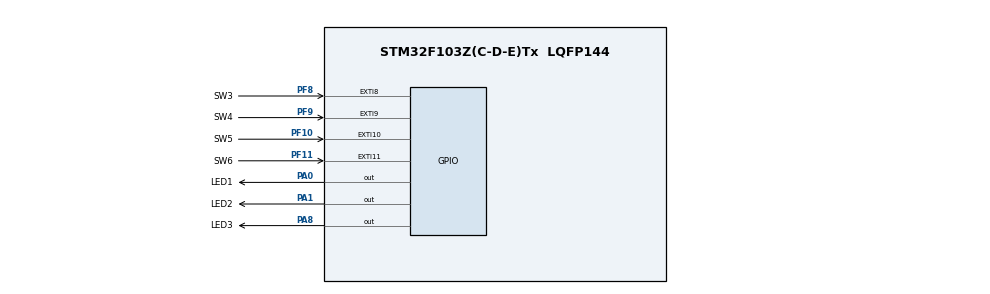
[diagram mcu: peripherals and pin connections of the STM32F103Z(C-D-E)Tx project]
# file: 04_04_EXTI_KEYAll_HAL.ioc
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Mcu.Family=STM32F1
Mcu.Name=STM32F103Z(C-D-E)Tx
Mcu.Package=LQFP144
NVIC.EXTI15_10_IRQn=true\:10\:0\:true\:false\:true\:true\:true\:true
NVIC.EXTI9_5_IRQn=true\:10\:0\:true\:false\:true\:true\:true\:true
NVIC.PriorityGroup=NVIC_PRIORITYGROUP_4
OSC_IN.Mode=HSE-External-Oscillator
OSC_IN.Signal=RCC_OSC_IN
OSC_OUT.Mode=HSE-External-Oscillator
OSC_OUT.Signal=RCC_OSC_OUT
PA0-WKUP.GPIO_Label=LED1
PA0-WKUP.GPIO_Speed=GPIO_SPEED_FREQ_HIGH
PA0-WKUP.PinState=GPIO_PIN_SET
PA0-WKUP.Signal=GPIO_Output
PA1.GPIO_Label=LED2
PA1.GPIO_Speed=GPIO_SPEED_FREQ_HIGH
PA1.PinState=GPIO_PIN_SET
PA1.Signal=GPIO_Output
PA13.Mode=Serial_Wire
PA13.Signal=SYS_JTMS-SWDIO
PA14.Mode=Serial_Wire
PA14.Signal=SYS_JTCK-SWCLK
PA8.GPIO_Label=LED3
PA8.GPIO_Speed=GPIO_SPEED_FREQ_HIGH
PA8.PinState=GPIO_PIN_SET
PA8.Signal=GPIO_Output
PC14-OSC32_IN.Mode=LSE-External-Oscillator
PC14-OSC32_IN.Signal=RCC_OSC32_IN
PC15-OSC32_OUT.Mode=LSE-External-Oscillator
PC15-OSC32_OUT.Signal=RCC_OSC32_OUT
PF10.GPIO_Label=SW5
PF10.GPIO_ModeDefaultEXTI=GPIO_MODE_IT_RISING
PF10.GPIO_PuPd=GPIO_PULLDOWN
PF10.Signal=GPXTI10
PF11.GPIO_Label=SW6
PF11.GPIO_PuPd=GPIO_PULLDOWN
PF11.Signal=GPXTI11
PF8.GPIO_Label=SW3
PF8.GPIO_ModeDefaultEXTI=GPIO_MODE_IT_FALLING
PF8.GPIO_PuPd=GPIO_PULLUP
PF8.Signal=GPXTI8
PF9.GPIO_Label=SW4
PF9.GPIO_ModeDefaultEXTI=GPIO_MODE_IT_FALLING
PF9.GPIO_PuPd=GPIO_PULLUP
PF9.Signal=GPXTI9
ProjectManager.HeapSize=0x200
ProjectManager.StackSize=0x400
ProjectManager.TargetToolchain=MDK-ARM V5.32
RCC.APB1Freq_Value=8000000
RCC.APB2Freq_Value=8000000
board=custom

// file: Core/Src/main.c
/* USER CODE BEGIN Header */
/**
  ******************************************************************************
  * @file           : main.c
  * @brief          : Main program body
  ******************************************************************************
  * @attention
  *
  * Copyright (c) 2025 STMicroelectronics.
  * All rights reserved.
  *
  * This software is licensed under terms that can be found in the LICENSE file
  * in the root directory of this software component.
  * If no LICENSE file comes with this software, it is provided AS-IS.
  *
  ******************************************************************************
  */
/* USER CODE END Header */
#include "main.h"
#include "gpio.h"

void SystemClock_Config(void);

/* USER CODE BEGIN 0 */
uint16_t leds[3] = {LED1_Pin,LED2_Pin,LED3_Pin};
void HAL_GPIO_EXTI_Callback(uint16_t GPIO_Pin)
{
  // �ж��Ƿ��� SW3
  if (GPIO_Pin == SW3_Pin)
  {
    HAL_Delay(10);
    if (HAL_GPIO_ReadPin(SW3_GPIO_Port,SW3_Pin) == GPIO_PIN_RESET)
    {
      HAL_GPIO_TogglePin(LED1_GPIO_Port,LED1_Pin);
    }
  }
  // �ж��Ƿ��� SW4
  if (GPIO_Pin == SW4_Pin)
  {
    HAL_Delay(10);
    if (HAL_GPIO_ReadPin(SW4_GPIO_Port,SW4_Pin) == GPIO_PIN_RESET)
    {
      HAL_GPIO_TogglePin(LED2_GPIO_Port,LED2_Pin);
    }
  }
  // �ж��Ƿ��� SW5
  if (GPIO_Pin == SW5_Pin)
  {
    HAL_Delay(10);
    if (HAL_GPIO_ReadPin(SW5_GPIO_Port,SW5_Pin) == GPIO_PIN_SET)
    {
      HAL_GPIO_TogglePin(LED3_GPIO_Port,LED3_Pin);
    }
  }
  // �ж��Ƿ��� SW6
  if (GPIO_Pin == SW6_Pin)
  {
    HAL_Delay(10);
    if (HAL_GPIO_ReadPin(SW6_GPIO_Port,SW6_Pin) == GPIO_PIN_SET)
    {
		  for (uint8_t i = 0; i < 3; i++)
		{

			GPIOA->ODR |= leds[i];
		}
    }
  }

}

/* USER CODE END 0 */

int main(void)
{

  /* MCU Configuration--------------------------------------------------------*/

  /* Reset of all peripherals, Initializes the Flash interface and the Systick. */
  HAL_Init();

  /* Configure the system clock */
  SystemClock_Config();

  /* Initialize all configured peripherals */
  MX_GPIO_Init();

  /* Infinite loop */
  while (1)
  {

  }
}

void SystemClock_Config(void)
{
  RCC_OscInitTypeDef RCC_OscInitStruct = {0};
  RCC_ClkInitTypeDef RCC_ClkInitStruct = {0};

  /** Initializes the RCC Oscillators according to the specified parameters
  * in the RCC_OscInitTypeDef structure.
  */
  RCC_OscInitStruct.OscillatorType = RCC_OSCILLATORTYPE_HSI;
  RCC_OscInitStruct.HSIState = RCC_HSI_ON;
  RCC_OscInitStruct.HSICalibrationValue = RCC_HSICALIBRATION_DEFAULT;
  RCC_OscInitStruct.PLL.PLLState = RCC_PLL_NONE;
  if (HAL_RCC_OscConfig(&RCC_OscInitStruct) != HAL_OK)
  {
    Error_Handler();
  }

  /** Initializes the CPU, AHB and APB buses clocks
  */
  RCC_ClkInitStruct.ClockType = RCC_CLOCKTYPE_HCLK|RCC_CLOCKTYPE_SYSCLK
                              |RCC_CLOCKTYPE_PCLK1|RCC_CLOCKTYPE_PCLK2;
  RCC_ClkInitStruct.SYSCLKSource = RCC_SYSCLKSOURCE_HSI;
  RCC_ClkInitStruct.AHBCLKDivider = RCC_SYSCLK_DIV1;
  RCC_ClkInitStruct.APB1CLKDivider = RCC_HCLK_DIV1;
  RCC_ClkInitStruct.APB2CLKDivider = RCC_HCLK_DIV1;

  if (HAL_RCC_ClockConfig(&RCC_ClkInitStruct, FLASH_LATENCY_0) != HAL_OK)
  {
    Error_Handler();
  }
}

void Error_Handler(void)
{
  __disable_irq();
  while (1)
  {
  }
}
